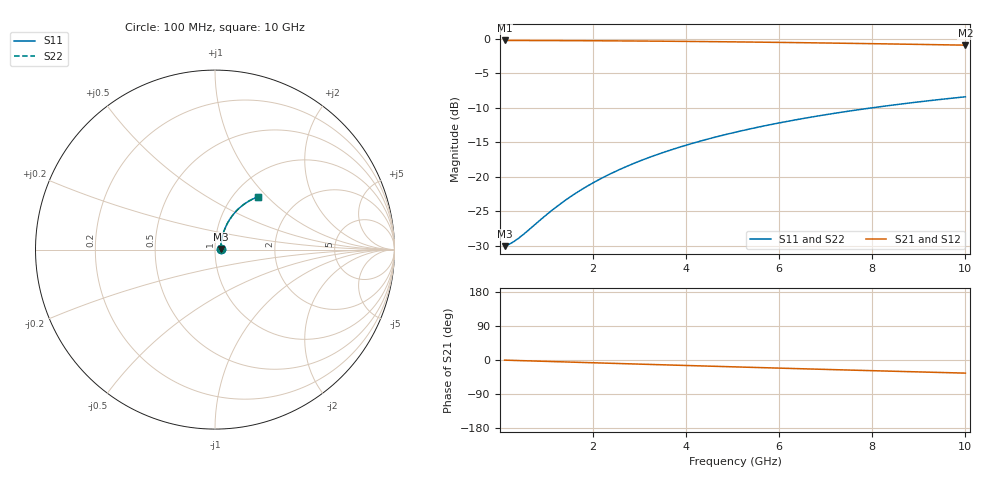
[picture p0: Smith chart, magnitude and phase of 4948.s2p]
# Hz S RI R 50.00
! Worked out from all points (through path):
!   100 points, 100 MHz to 10 GHz, reference 50 ohm
!   highest |S21| = -0.27 dB at 100 MHz (marker M1); lowest = -1.0 dB at 10 GHz (marker M2)
!   group delay of S21, straight-line fit = 9.65 ps
!   lowest |S11| = -30.1 dB at 100 MHz (marker M3), VSWR 1.06, Z = 53.2 + j0.431 ohm
!   |S11| at or under -10 dB: start of sweep to 8.025 GHz
!   |S22| runs from -30.1 to -8.4 dB; largest |S21 - S12| = 0
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1e8  0.0312 0.00404  0.9688 -0.00617  0.9688 -0.00617  0.0312 0.00404
2e8  0.0314 0.00808  0.9686 -0.0123  0.9686 -0.0123  0.0314 0.00808
3e8  0.0317 0.0121  0.9683 -0.0185  0.9683 -0.0185  0.0317 0.0121
4e8  0.032 0.0161  0.968 -0.0247  0.968 -0.0247  0.032 0.0161
6e8  0.0327 0.0242  0.9672 -0.037  0.9672 -0.037  0.0327 0.0242
1e9  0.0346 0.0402  0.9651 -0.0615  0.9651 -0.0615  0.0346 0.0402
1.2e9  0.0359 0.0481  0.9638 -0.0737  0.9638 -0.0737  0.0359 0.0481
1.5e9  0.0381 0.06  0.9614 -0.092  0.9614 -0.092  0.0381 0.06
1.8e9  0.0407 0.0717  0.9585 -0.1101  0.9585 -0.1101  0.0407 0.0717
2.1e9  0.0438 0.0833  0.9551 -0.1281  0.9551 -0.1281  0.0438 0.0833
2.5e9  0.0485 0.0986  0.95 -0.1519  0.95 -0.1519  0.0485 0.0986
2.9e9  0.054 0.1135  0.944 -0.1754  0.944 -0.1754  0.054 0.1135
3.4e9  0.0619 0.1317  0.9354 -0.2042  0.9354 -0.2042  0.0619 0.1317
3.8e9  0.0689 0.1458  0.9277 -0.2269  0.9277 -0.2269  0.0689 0.1458
4.2e9  0.0766 0.1594  0.9192 -0.2491  0.9192 -0.2491  0.0766 0.1594
4.6e9  0.085 0.1726  0.9101 -0.2708  0.9101 -0.2708  0.085 0.1726
5.1e9  0.0962 0.1884  0.8977 -0.2973  0.8977 -0.2973  0.0962 0.1884
5.9e9  0.1158 0.2118  0.876 -0.338  0.876 -0.338  0.1158 0.2118
6.7e9  0.1374 0.233  0.852 -0.3764  0.852 -0.3764  0.1374 0.233
7.5e9  0.1604 0.2517  0.8263 -0.4124  0.8263 -0.4124  0.1604 0.2517
8.4e9  0.1878 0.2697  0.7954 -0.4499  0.7954 -0.4499  0.1878 0.2697
1e10  0.239 0.2938  0.7371 -0.509  0.7371 -0.509  0.239 0.2938
